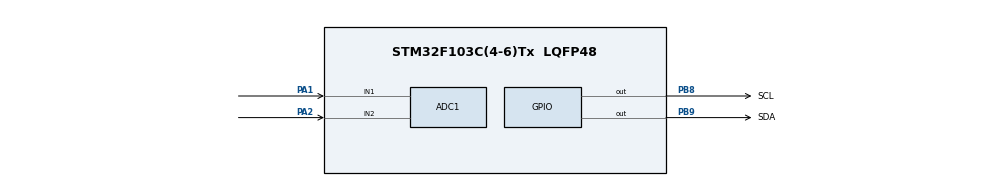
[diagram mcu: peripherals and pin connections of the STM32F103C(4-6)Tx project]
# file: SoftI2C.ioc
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ADC1.Channel-11\#ChannelRegularConversion=ADC_CHANNEL_2
ADC1.Channel-9\#ChannelRegularConversion=ADC_CHANNEL_1
ADC1.DiscontinuousConvMode=ENABLE
ADC1.NbrOfConversion=2
ADC1.NbrOfConversionFlag=1
ADC1.Rank-11\#ChannelRegularConversion=2
ADC1.Rank-9\#ChannelRegularConversion=1
ADC1.SamplingTime-11\#ChannelRegularConversion=ADC_SAMPLETIME_13CYCLES_5
ADC1.SamplingTime-9\#ChannelRegularConversion=ADC_SAMPLETIME_13CYCLES_5
ADC1.master=1
Mcu.Family=STM32F1
Mcu.Name=STM32F103C(4-6)Tx
Mcu.Package=LQFP48
NVIC.PriorityGroup=NVIC_PRIORITYGROUP_4
PA1.Signal=ADCx_IN1
PA13.Mode=Trace_Asynchronous_SW
PA13.Signal=SYS_JTMS-SWDIO
PA14.Mode=Trace_Asynchronous_SW
PA14.Signal=SYS_JTCK-SWCLK
PA2.Signal=ADCx_IN2
PB3.Mode=Trace_Asynchronous_SW
PB3.Signal=SYS_JTDO-TRACESWO
PB8.GPIO_Label=SCL
PB8.GPIO_PuPd=GPIO_PULLUP
PB8.GPIO_Speed=GPIO_SPEED_FREQ_HIGH
PB8.Signal=GPIO_Output
PB9.GPIO_Label=SDA
PB9.GPIO_PuPd=GPIO_PULLUP
PB9.GPIO_Speed=GPIO_SPEED_FREQ_HIGH
PB9.Signal=GPIO_Output
ProjectManager.HeapSize=0x200
ProjectManager.StackSize=0x400
ProjectManager.TargetToolchain=STM32CubeIDE
RCC.APB1Freq_Value=8000000
RCC.APB2Freq_Value=8000000
SH.ADCx_IN1.0=ADC1_IN1,IN1
SH.ADCx_IN2.0=ADC1_IN2,IN2
board=custom

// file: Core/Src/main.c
/* USER CODE BEGIN Header */
/**
 ******************************************************************************
 * @file           : main.c
 * @brief          : Main program body
 ******************************************************************************
 * @attention
 *
 * <h2><center>&copy; Copyright (c) 2021 STMicroelectronics.
 * All rights reserved.</center></h2>
 *
 * This software component is licensed by ST under BSD 3-Clause license,
 * the "License"; You may not use this file except in compliance with the
 * License. You may obtain a copy of the License at:
 *                        opensource.org/licenses/BSD-3-Clause
 *
 ******************************************************************************
 */
/* USER CODE END Header */
#include "main.h"

/* USER CODE BEGIN Includes */
#include "IIC.h"
#include "lcd1602.h"
#include <stdio.h>
/* USER CODE END Includes */

/* USER CODE BEGIN PTD */
extern uint8_t iicAddress;
/* USER CODE END PTD */

ADC_HandleTypeDef hadc1;

void SystemClock_Config(void);
static void MX_GPIO_Init(void);
static void MX_ADC1_Init(void);

int main(void)
{

  /* MCU Configuration--------------------------------------------------------*/

  /* Reset of all peripherals, Initializes the Flash interface and the Systick. */
  HAL_Init();

  /* Configure the system clock */
  SystemClock_Config();

  /* Initialize all configured peripherals */
  MX_GPIO_Init();
  MX_ADC1_Init();
  /* USER CODE BEGIN 2 */

	//IIC_Init();
	//HAL_Delay(1000);
	iicAddress = 0b0100111;
	//uint8_t data[1];
	//data[0] = 0b01010101;

	//uint8_t * data

	//uint8_t IICwriteBytes(uint8_t dev, uint8_t reg, uint8_t length, uint8_t* data){

	//IICwriteBytes(iicAddress,iicAddress,1, data);

  /* USER CODE END 2 */

  /* Infinite loop */
  /* USER CODE BEGIN WHILE */
	HAL_Delay(500);
	LCD_Init();
	HAL_Delay(100);
	LCD_Clear();
	HAL_Delay(50);

	uint16_t value[2];
	float votage[2];
	char line0[16] =
	{ 0 };
	char line1[16] =
	{ 0 };

//	uint8_t flag = 0;
	while (1)
	{
		HAL_Delay(200);
		//电压采样轮循
		for (int i = 0; i < 2; i++)
		{
			HAL_ADC_Start(&hadc1);
			HAL_ADC_PollForConversion(&hadc1, 50);
			value[i] = HAL_ADC_GetValue(&hadc1);
			votage[i] = 3.3 * value[i] / 4096;
		}

		sprintf(line0, "%.3f", votage[0]);
		sprintf(line1, "%.3f", votage[1]);

		//HAL_Delay(100);
		LCD_Write_String(0, 0, line0); //显示�????????段文�????????
		//HAL_Delay(100);
		LCD_Write_String(0, 1, line1); //显示�????????段文�????????
		//HAL_Delay(100);

//	  HAL_Delay(1000);
//
//	  if (flag){
//		  IICWriteByte(iicAddress,0b01010101);
//		  flag = 0;
//	  }
//	  else{
//		  IICWriteByte(iicAddress, 0b10101010);
//		  flag = 1;
//	  }
	}

    /* USER CODE END WHILE */

}

void SystemClock_Config(void)
{
  RCC_OscInitTypeDef RCC_OscInitStruct = {0};
  RCC_ClkInitTypeDef RCC_ClkInitStruct = {0};
  RCC_PeriphCLKInitTypeDef PeriphClkInit = {0};

  /** Initializes the RCC Oscillators according to the specified parameters
  * in the RCC_OscInitTypeDef structure.
  */
  RCC_OscInitStruct.OscillatorType = RCC_OSCILLATORTYPE_HSI;
  RCC_OscInitStruct.HSIState = RCC_HSI_ON;
  RCC_OscInitStruct.HSICalibrationValue = RCC_HSICALIBRATION_DEFAULT;
  RCC_OscInitStruct.PLL.PLLState = RCC_PLL_NONE;
  if (HAL_RCC_OscConfig(&RCC_OscInitStruct) != HAL_OK)
  {
    Error_Handler();
  }
  /** Initializes the CPU, AHB and APB buses clocks
  */
  RCC_ClkInitStruct.ClockType = RCC_CLOCKTYPE_HCLK|RCC_CLOCKTYPE_SYSCLK
                              |RCC_CLOCKTYPE_PCLK1|RCC_CLOCKTYPE_PCLK2;
  RCC_ClkInitStruct.SYSCLKSource = RCC_SYSCLKSOURCE_HSI;
  RCC_ClkInitStruct.AHBCLKDivider = RCC_SYSCLK_DIV1;
  RCC_ClkInitStruct.APB1CLKDivider = RCC_HCLK_DIV1;
  RCC_ClkInitStruct.APB2CLKDivider = RCC_HCLK_DIV1;

  if (HAL_RCC_ClockConfig(&RCC_ClkInitStruct, FLASH_LATENCY_0) != HAL_OK)
  {
    Error_Handler();
  }
  PeriphClkInit.PeriphClockSelection = RCC_PERIPHCLK_ADC;
  PeriphClkInit.AdcClockSelection = RCC_ADCPCLK2_DIV2;
  if (HAL_RCCEx_PeriphCLKConfig(&PeriphClkInit) != HAL_OK)
  {
    Error_Handler();
  }
}

static void MX_ADC1_Init(void)
{

  ADC_ChannelConfTypeDef sConfig = {0};

  /** Common config
  */
  hadc1.Instance = ADC1;
  hadc1.Init.ScanConvMode = ADC_SCAN_ENABLE;
  hadc1.Init.ContinuousConvMode = DISABLE;
  hadc1.Init.DiscontinuousConvMode = ENABLE;
  hadc1.Init.NbrOfDiscConversion = 1;
  hadc1.Init.ExternalTrigConv = ADC_SOFTWARE_START;
  hadc1.Init.DataAlign = ADC_DATAALIGN_RIGHT;
  hadc1.Init.NbrOfConversion = 2;
  if (HAL_ADC_Init(&hadc1) != HAL_OK)
  {
    Error_Handler();
  }
  /** Configure Regular Channel
  */
  sConfig.Channel = ADC_CHANNEL_1;
  sConfig.Rank = ADC_REGULAR_RANK_1;
  sConfig.SamplingTime = ADC_SAMPLETIME_13CYCLES_5;
  if (HAL_ADC_ConfigChannel(&hadc1, &sConfig) != HAL_OK)
  {
    Error_Handler();
  }
  /** Configure Regular Channel
  */
  sConfig.Channel = ADC_CHANNEL_2;
  sConfig.Rank = ADC_REGULAR_RANK_2;
  if (HAL_ADC_ConfigChannel(&hadc1, &sConfig) != HAL_OK)
  {
    Error_Handler();
  }

}

static void MX_GPIO_Init(void)
{
  GPIO_InitTypeDef GPIO_InitStruct = {0};

  /* GPIO Ports Clock Enable */
  __HAL_RCC_GPIOA_CLK_ENABLE();
  __HAL_RCC_GPIOB_CLK_ENABLE();

  /*Configure GPIO pin Output Level */
  HAL_GPIO_WritePin(GPIOB, SCL_Pin|SDA_Pin, GPIO_PIN_RESET);

  /*Configure GPIO pins : SCL_Pin SDA_Pin */
  GPIO_InitStruct.Pin = SCL_Pin|SDA_Pin;
  GPIO_InitStruct.Mode = GPIO_MODE_OUTPUT_PP;
  GPIO_InitStruct.Pull = GPIO_PULLUP;
  GPIO_InitStruct.Speed = GPIO_SPEED_FREQ_HIGH;
  HAL_GPIO_Init(GPIOB, &GPIO_InitStruct);

}

void Error_Handler(void)
{
	__disable_irq();
	while (1)
	{
	}
}

/************************ (C) COPYRIGHT STMicroelectronics *****END OF FILE****/
